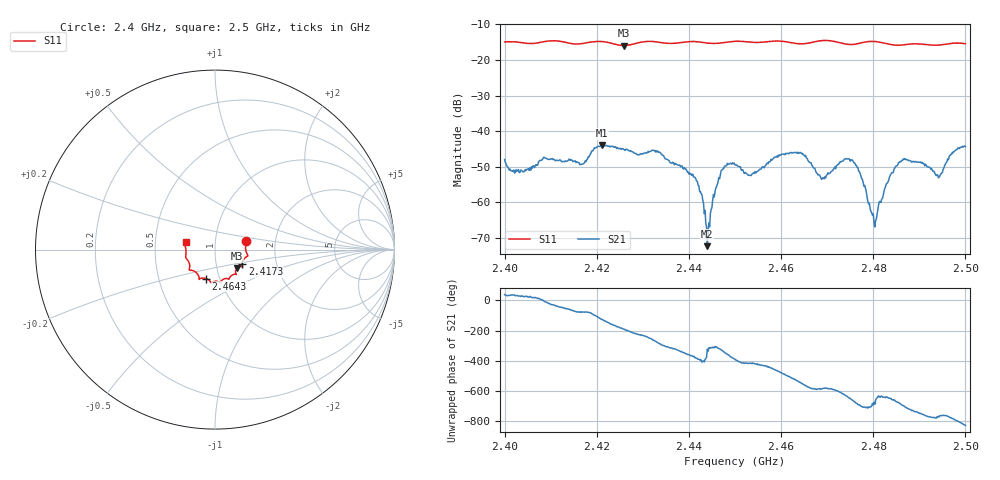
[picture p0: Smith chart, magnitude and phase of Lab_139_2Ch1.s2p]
# Hz S RI R 50
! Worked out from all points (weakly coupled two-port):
!   601 points, 2.4 GHz to 2.5 GHz, reference 50 ohm
!   highest |S21| = -43.98 dB at 2.4212 GHz (marker M1); lowest = -72.3 dB at 2.444 GHz (marker M2)
!   lowest |S11| = -15.9 dB at 2.4258 GHz (marker M3), VSWR 1.38, Z = 62.3 - j13.2 ohm
!   |S11| at or under -10 dB: start of sweep to end of sweep
!   S12 and S22 are empty: the file has one direction only
!   S11 on the Smith chart (normalised r, x): 2.4 GHz: 1.41, +0.14; 2.4173 GHz: 1.34, -0.22; 2.4643 GHz: 0.86, -0.29; 2.5 GHz: 0.72, +0.06
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2.4e9  0.1727 0.0492  0.00317 0.00244  0 0  0 0
2.401833e9  0.1756 0.0415  0.00224 0.00153  0 0  0 0
2.408833e9  0.1803 -0.0273  0.00411 -0.000788  0 0  0 0
2.416667e9  0.1527 -0.0738  0.000813 -0.00334  0 0  0 0
2.417333e9  0.1521 -0.0813  0.000699 -0.00353  0 0  0 0
2.421167e9  0.1538 -0.0967  -0.00371 -0.00512  0 0  0 0
2.425833e9  0.1216 -0.1033  -0.00548 0.00104  0 0  0 0
2.433333e9  0.1134 -0.1374  0.00114 0.00491  0 0  0 0
2.441333e9  0.0767 -0.1647  0.00211 -0.000753  0 0  0 0
2.444e9  0.0636 -0.1607  0.000193 0.000147  0 0  0 0
2.447e9  0.0406 -0.1689  0.00235 0.00151  0 0  0 0
2.45e9  0.0288 -0.181  0.00291 -0.00166  0 0  0 0
2.453333e9  0.0152 -0.1775  0.00135 -0.00197  0 0  0 0
2.464333e9  -0.0498 -0.1611  -0.00493 0.000563  0 0  0 0
2.466667e9  -0.0758 -0.1595  -0.00243 0.00227  0 0  0 0
2.469167e9  -0.0882 -0.1661  -0.00165 0.00146  0 0  0 0
2.475667e9  -0.1127 -0.1216  0.00214 0.00305  0 0  0 0
2.480333e9  -0.1438 -0.1121  0.000381 0.000239  0 0  0 0
2.483333e9  -0.1409 -0.0901  0.000548 0.00194  0 0  0 0
2.486833e9  -0.1541 -0.0567  0.00393 0.00123  0 0  0 0
2.494167e9  -0.162 7.08e-05  0.00152 -0.00162  0 0  0 0
2.5e9  -0.1637 0.043  -0.0018 -0.00581  0 0  0 0
